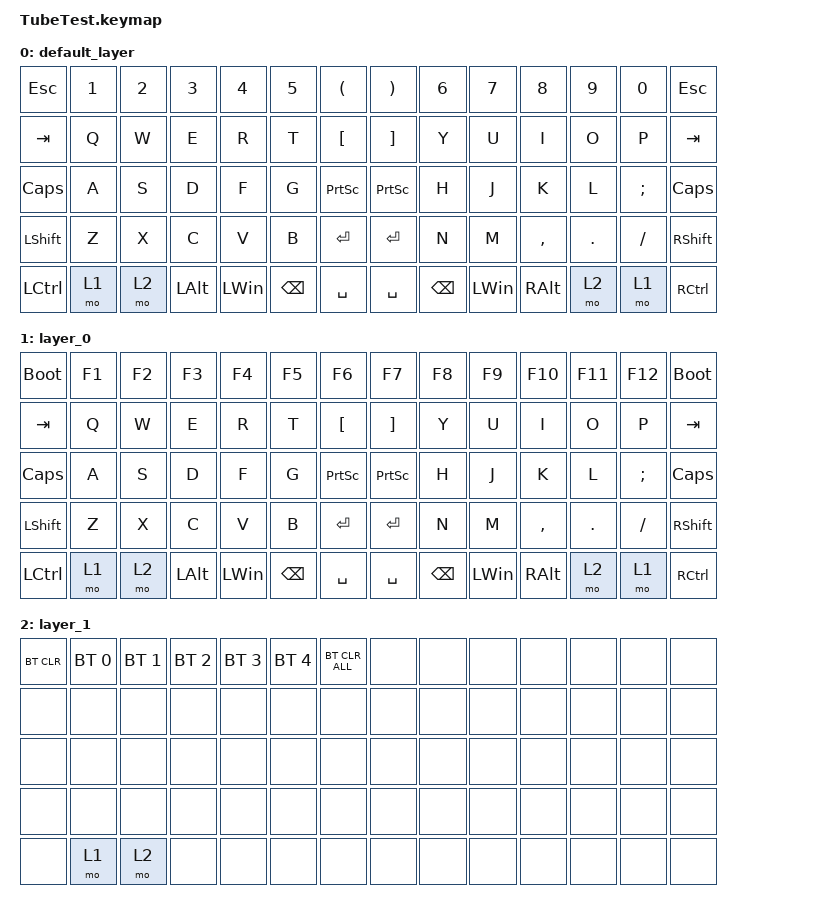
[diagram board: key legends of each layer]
#include <behaviors.dtsi>
#include <dt-bindings/zmk/keys.h>
#include <dt-bindings/zmk/bt.h>

/ {  
    keymap {
        compatible = "zmk,keymap";

        default_layer {
            bindings = <
        &kp ESCAPE        &kp N1     &kp N2 &kp N3        &kp N4     &kp N5          &kp LEFT_PARENTHESIS      &kp RIGHT_PARENTHESIS  &kp N6     &kp N7     &kp N8        &kp N9     &kp N0          &kp ESCAPE  
        &kp TAB           &kp Q      &kp W  &kp E         &kp R      &kp T           &kp LEFT_BRACKET          &kp RIGHT_BRACKET      &kp Y      &kp U      &kp I         &kp O      &kp P           &kp TAB
        &kp CAPSLOCK      &kp A      &kp S  &kp D         &kp F      &kp G           &kp PRINTSCREEN           &kp PRINTSCREEN        &kp H      &kp J      &kp K         &kp L      &kp SEMI        &kp CAPSLOCK
        &kp LSHIFT        &kp Z      &kp X  &kp C         &kp V      &kp B           &kp ENTER                 &kp ENTER              &kp N      &kp M      &kp COMMA     &kp DOT    &kp FSLH        &kp RSHIFT
        &kp LEFT_CONTROL  &mo 1      &mo 2  &kp LEFT_ALT  &kp LWIN   &kp BACKSPACE   &kp SPACE                 &kp SPACE              &kp BSPC   &kp LWIN   &kp RIGHT_ALT &mo 2      &mo 1           &kp RIGHT_CONTROL
            >;
        };
layer_0 {
            bindings = <
        &bootloader       &kp F1     &kp F2 &kp F3        &kp F4     &kp F5          &kp F6                    &kp F7                 &kp F8     &kp F9     &kp F10       &kp F11    &kp F12         &bootloader
        &kp TAB           &kp Q      &kp W  &kp E         &kp R      &kp T           &kp LEFT_BRACKET          &kp RIGHT_BRACKET      &kp Y      &kp U      &kp I         &kp O      &kp P           &kp TAB
        &kp CAPSLOCK      &kp A      &kp S  &kp D         &kp F      &kp G           &kp PRINTSCREEN           &kp PRINTSCREEN        &kp H      &kp J      &kp K         &kp L      &kp SEMI        &kp CAPSLOCK
        &kp LSHIFT        &kp Z      &kp X  &kp C         &kp V      &kp B           &kp ENTER                 &kp ENTER              &kp N      &kp M      &kp COMMA     &kp DOT    &kp FSLH        &kp RSHIFT
        &kp LEFT_CONTROL  &mo 1      &mo 2  &kp LEFT_ALT  &kp LWIN   &kp BACKSPACE   &kp SPACE                 &kp SPACE              &kp BSPC   &kp LWIN   &kp RIGHT_ALT &mo 2      &mo 1           &kp RIGHT_CONTROL
            >;
        };

layer_1 {
            bindings = <
        &bt BT_CLR        &bt BT_SEL 0 &bt BT_SEL 1 &bt BT_SEL 2  &bt BT_SEL 3 &bt BT_SEL 4    &bt BT_CLR_ALL            &none             &none        &none        &none         &none        &none           &none        
        &none             &none        &none        &none         &none        &none           &none                     &none             &none        &none        &none         &none        &none           &none        
        &none             &none        &none        &none         &none        &none           &none                     &none             &none        &none        &none         &none        &none           &none        
        &none             &none        &none        &none         &none        &none           &none                     &none             &none        &none        &none         &none        &none           &none        
        &none             &mo 1        &mo 2        &none         &none        &none           &none                     &none             &none        &none        &none         &none        &none           &none        
            >;
        };
    };
};
